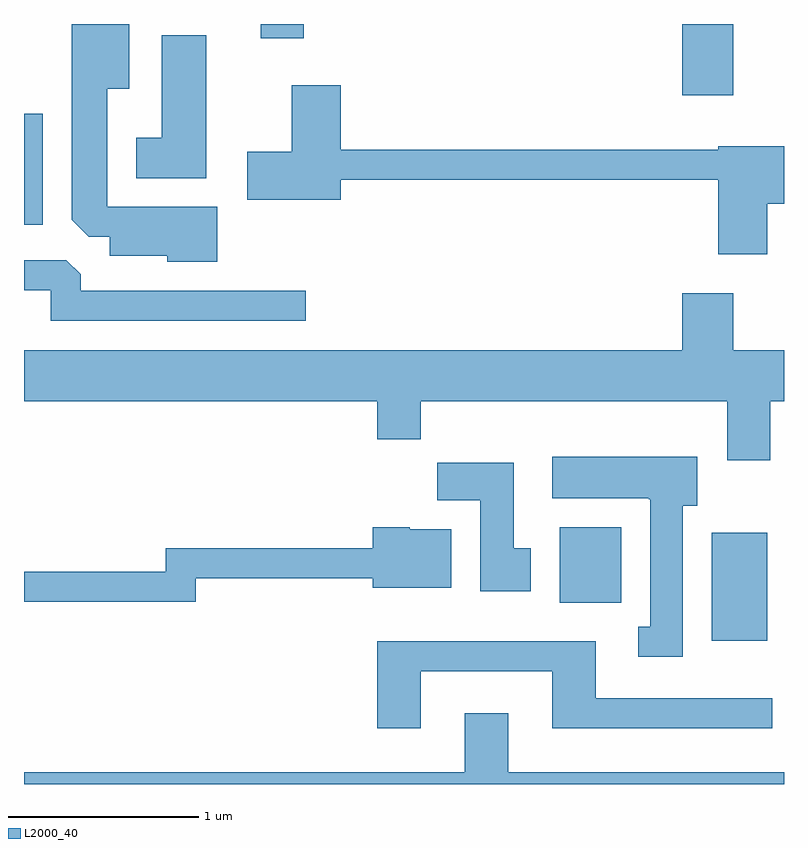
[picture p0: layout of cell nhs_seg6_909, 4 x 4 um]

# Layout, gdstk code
import gdstk
lib = gdstk.Library(unit=1e-6, precision=1e-09)
def R(c, l, rs):  # rectangles x0, y0, x1, y1
    for r in rs: c.add(gdstk.rectangle(r[:2], r[2:], *l))
def P(c, l, *ps):  # polygons
    for p in ps: c.add(gdstk.Polygon(p, *l))
L2000_40 = (2000, 40)

nhs_seg6_909 = lib.new_cell('nhs_seg6_909')
R(nhs_seg6_909, L2000_40, [(215.231,1630.916,215.524,1631.484), (214.431,1631.116,214.754,1631.514), (211.611,1633.106,211.709,1633.689), (215.076,1633.786,215.344,1634.162), (212.856,1634.086,213.084,1634.162)])
P(nhs_seg6_909, L2000_40, [(212.629,1633.199),(212.049,1633.199),(212.049,1633.821),(212.164,1633.821),(212.164,1634.162),(211.861,1634.162),(211.861,1633.132),(211.952,1633.041),(212.061,1633.041),(212.061,1632.941),(212.366,1632.941),(212.366,1632.911),(212.629,1632.911)],
  [(212.569,1634.104),(212.336,1634.104),(212.336,1633.564),(212.201,1633.564),(212.201,1633.351),(212.569,1633.351)],
  [(215.524,1633.216),(215.611,1633.216),(215.611,1633.519),(215.266,1633.519),(215.266,1633.499),(213.279,1633.499),(213.279,1633.839),(213.021,1633.839),(213.021,1633.489),(212.786,1633.489),(212.786,1633.236),(213.279,1633.236),(213.279,1633.341),(215.266,1633.341),(215.266,1632.951),(215.524,1632.951)],
  [(213.093,1632.759),(211.909,1632.759),(211.909,1632.844),(211.834,1632.919),(211.611,1632.919),(211.611,1632.761),(211.751,1632.761),(211.751,1632.601),(213.093,1632.601)],
  [(215.539,1632.176),(215.611,1632.176),(215.611,1632.444),(215.344,1632.444),(215.344,1632.744),(215.076,1632.744),(215.076,1632.444),(211.611,1632.444),(211.611,1632.176),(213.471,1632.176),(213.471,1631.976),(213.699,1631.976),(213.699,1632.176),(215.311,1632.176),(215.311,1631.866),(215.539,1631.866)],
  [(215.079,1631.626),(215.154,1631.626),(215.154,1631.884),(214.391,1631.884),(214.391,1631.666),(214.9,1631.666),(214.9,1631.66),(214.906,1631.66),(214.906,1630.989),(214.843,1630.989),(214.843,1630.831),(215.079,1630.831)],
  [(214.279,1631.404),(214.189,1631.404),(214.189,1631.854),(213.786,1631.854),(213.786,1631.656),(214.011,1631.656),(214.011,1631.176),(214.279,1631.176)],
  [(212.514,1631.246),(213.446,1631.246),(213.446,1631.196),(213.859,1631.196),(213.859,1631.504),(213.64,1631.504),(213.64,1631.514),(213.446,1631.514),(213.446,1631.404),(212.356,1631.404),(212.356,1631.279),(211.611,1631.279),(211.611,1631.121),(212.514,1631.121)],
  [(213.699,1630.756),(214.391,1630.756),(214.391,1630.456),(215.548,1630.456),(215.548,1630.614),(214.619,1630.614),(214.619,1630.914),(213.471,1630.914),(213.471,1630.456),(213.699,1630.456)],
  [(215.611,1630.224),(214.159,1630.224),(214.159,1630.534),(213.931,1630.534),(213.931,1630.224),(211.611,1630.224),(211.611,1630.162),(215.611,1630.162)])

lib.write_gds('nhs_seg6_909.gds')
